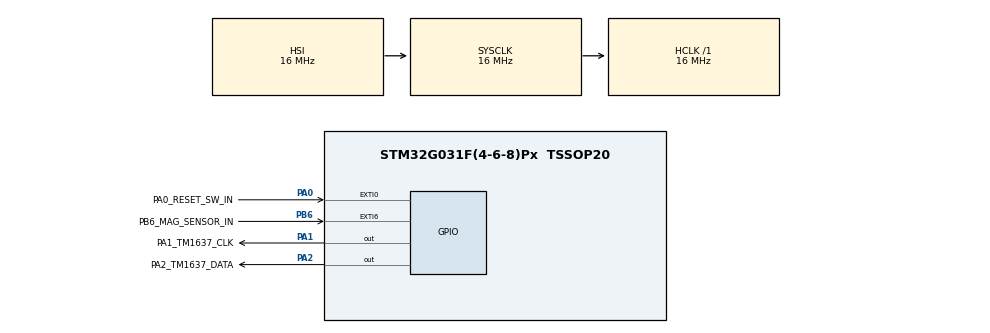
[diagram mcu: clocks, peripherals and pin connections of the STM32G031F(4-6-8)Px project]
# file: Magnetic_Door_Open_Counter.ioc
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Mcu.Family=STM32G0
Mcu.Name=STM32G031F(4-6-8)Px
Mcu.Package=TSSOP20
NVIC.EXTI0_1_IRQn=true\:0\:0\:false\:false\:true\:true\:true\:true
NVIC.EXTI4_15_IRQn=true\:0\:0\:false\:false\:true\:true\:true\:true
PA0.GPIO_Label=PA0_RESET_SW_IN
PA0.GPIO_ModeDefaultEXTI=GPIO_MODE_IT_RISING_FALLING
PA0.Signal=GPXTI0
PA1.GPIO_Label=PA1_TM1637_CLK
PA1.Signal=GPIO_Output
PA13.Mode=Serial_Wire
PA13.Signal=SYS_SWDIO
PA14-BOOT0.Mode=Serial_Wire
PA14-BOOT0.Signal=SYS_SWCLK
PA14-BOOT0__PA15.StandardMode=true
PA2.GPIO_Label=PA2_TM1637_DATA
PA2.Signal=GPIO_Output
PB0__PB1__PB2__PA8.StandardMode=true
PB3__PB4__PB5__PB6.StandardMode=true
PB6.GPIO_Label=PB6_MAG_SENSOR_IN
PB6.GPIO_ModeDefaultEXTI=GPIO_MODE_IT_RISING_FALLING
PB6.Signal=GPXTI6
PB7__PB8.StandardMode=true
PC14-OSC32_IN\ (PC14)__PB9.StandardMode=true
ProjectManager.HeapSize=0x200
ProjectManager.StackSize=0x400
ProjectManager.TargetToolchain=STM32CubeIDE
RCC.AHBFreq_Value=16000000
RCC.CortexFreq_Value=16000000
RCC.EXTERNAL_CLOCK_VALUE=12288000
RCC.HCLKFreq_Value=16000000
RCC.HSE_VALUE=8000000
RCC.HSI_VALUE=16000000
RCC.LSE_VALUE=32768
RCC.SYSCLKFreq_VALUE=16000000
RCC.VCOOutputFreq_Value=128000000
board=custom

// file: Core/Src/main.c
/* USER CODE BEGIN Header */
/**
  ******************************************************************************
  * @file           : main.c
  * @brief          : Main program body
  ******************************************************************************
  * @attention
  *
  * Copyright (c) 2024 STMicroelectronics.
  * All rights reserved.
  *
  * This software is licensed under terms that can be found in the LICENSE file
  * in the root directory of this software component.
  * If no LICENSE file comes with this software, it is provided AS-IS.
  *
  ******************************************************************************
  */
/* USER CODE END Header */
#include "main.h"
#define FLASH_USER_START_ADDR   (FLASH_BASE + (4 * FLASH_PAGE_SIZE))   /* Start @ of user Flash area */
#define FLASH_USER_END_ADDR     (FLASH_BASE + FLASH_SIZE - 1)   /* End @ of user Flash area */

#define DATA_64                 ((uint64_t)0x1234567812345678)
#define DATA_32                 ((uint32_t)0x12345678)
/* USER CODE BEGIN Includes */
#include "TM1637.h"
#include "flash_if.h"
/* USER CODE END Includes */

/* USER CODE BEGIN PV */
uint32_t GetPage(uint32_t Addr);
uint32_t Get_CounterVal_From_Flash();
void Set_CounterVal_To_Flash(uint64_t counterVal);
/* USER CODE END PV */

void SystemClock_Config(void);
static void MX_GPIO_Init(void);

/* USER CODE BEGIN PFP */
FLASH_EraseInitTypeDef EraseInitStruct = {0};
/* USER CODE END PFP */

/* USER CODE BEGIN 0 */
volatile uint32_t CounterVar = 0;
volatile uint32_t PrevCounterVar = 0;
extern uint32_t LastResetISRTick;
extern volatile uint8_t ButtonPressed;
volatile uint32_t lowPeriodCountTick = 0;
volatile uint8_t lowPeriodCount = 0;
/* USER CODE END 0 */

int main(void)
{

  /* MCU Configuration--------------------------------------------------------*/

  /* Reset of all peripherals, Initializes the Flash interface and the Systick. */
  HAL_Init();

  /* Configure the system clock */
  SystemClock_Config();

  /* USER CODE BEGIN SysInit */
  //HAL_Delay(3000);
  /* USER CODE END SysInit */

  /* Initialize all configured peripherals */
  MX_GPIO_Init();
  /* USER CODE BEGIN 2 */
  TM1637_Init();
  TM1637_SetBrightness(8);

  CounterVar = Get_CounterVal_From_Flash();
  CounterVar = CounterVar > 9999 ? 0 : CounterVar;
  TM1637_DisplayDecimal(CounterVar, 0);
  lowPeriodCountTick = HAL_GetTick();
  lowPeriodCount = 2;

  /* USER CODE END 2 */

  /* Infinite loop */
  while (1)
  {
	  if(PrevCounterVar != CounterVar)
	  {
		  TM1637_DisplayDecimal(CounterVar, 0);
		  Set_CounterVal_To_Flash(CounterVar);
		  PrevCounterVar = CounterVar;
	  }
	  if(HAL_GPIO_ReadPin(PB6_MAG_SENSOR_IN_GPIO_Port, PB6_MAG_SENSOR_IN_Pin) == 0 && ((HAL_GetTick() - lowPeriodCountTick) > 600) && lowPeriodCount == 0) {
		  lowPeriodCountTick = HAL_GetTick();
		  if(CounterVar > 9998) {
			  CounterVar = 0;
		  }
		  CounterVar++;
		  lowPeriodCount = 1;
	  }
	  if(HAL_GPIO_ReadPin(PB6_MAG_SENSOR_IN_GPIO_Port, PB6_MAG_SENSOR_IN_Pin) == 1) {
		  lowPeriodCountTick = HAL_GetTick();
		  lowPeriodCount = 0;
	  }
	  if(ButtonPressed && ((HAL_GetTick() - LastResetISRTick) > 1500))
	  {
		  ButtonPressed = 0;
		  CounterVar = 0;
	  }

	  HAL_Delay(1);
  }
}
void SystemClock_Config(void)
{
  RCC_OscInitTypeDef RCC_OscInitStruct = {0};
  RCC_ClkInitTypeDef RCC_ClkInitStruct = {0};

  /** Configure the main internal regulator output voltage
  */
  HAL_PWREx_ControlVoltageScaling(PWR_REGULATOR_VOLTAGE_SCALE1);

  /** Initializes the RCC Oscillators according to the specified parameters
  * in the RCC_OscInitTypeDef structure.
  */
  RCC_OscInitStruct.OscillatorType = RCC_OSCILLATORTYPE_HSI;
  RCC_OscInitStruct.HSIState = RCC_HSI_ON;
  RCC_OscInitStruct.HSIDiv = RCC_HSI_DIV1;
  RCC_OscInitStruct.HSICalibrationValue = RCC_HSICALIBRATION_DEFAULT;
  RCC_OscInitStruct.PLL.PLLState = RCC_PLL_NONE;
  if (HAL_RCC_OscConfig(&RCC_OscInitStruct) != HAL_OK)
  {
    Error_Handler();
  }

  /** Initializes the CPU, AHB and APB buses clocks
  */
  RCC_ClkInitStruct.ClockType = RCC_CLOCKTYPE_HCLK|RCC_CLOCKTYPE_SYSCLK
                              |RCC_CLOCKTYPE_PCLK1;
  RCC_ClkInitStruct.SYSCLKSource = RCC_SYSCLKSOURCE_HSI;
  RCC_ClkInitStruct.AHBCLKDivider = RCC_SYSCLK_DIV1;
  RCC_ClkInitStruct.APB1CLKDivider = RCC_HCLK_DIV1;

  if (HAL_RCC_ClockConfig(&RCC_ClkInitStruct, FLASH_LATENCY_0) != HAL_OK)
  {
    Error_Handler();
  }
}

static void MX_GPIO_Init(void)
{
  GPIO_InitTypeDef GPIO_InitStruct = {0};

  /* GPIO Ports Clock Enable */
  __HAL_RCC_GPIOA_CLK_ENABLE();
  __HAL_RCC_GPIOB_CLK_ENABLE();

  /*Configure GPIO pin Output Level */
  HAL_GPIO_WritePin(GPIOA, PA1_TM1637_CLK_Pin|PA2_TM1637_DATA_Pin, GPIO_PIN_RESET);

  /*Configure GPIO pin : PA0_RESET_SW_IN_Pin */
  GPIO_InitStruct.Pin = PA0_RESET_SW_IN_Pin;
  GPIO_InitStruct.Mode = GPIO_MODE_IT_RISING;
  GPIO_InitStruct.Pull = GPIO_PULLDOWN;

  HAL_GPIO_Init(PA0_RESET_SW_IN_GPIO_Port, &GPIO_InitStruct);

  /*Configure GPIO pins : PA1_TM1637_CLK_Pin PA2_TM1637_DATA_Pin */
  GPIO_InitStruct.Pin = PA1_TM1637_CLK_Pin|PA2_TM1637_DATA_Pin;
  GPIO_InitStruct.Mode = GPIO_MODE_OUTPUT_PP;
  GPIO_InitStruct.Pull = GPIO_NOPULL;
  GPIO_InitStruct.Speed = GPIO_SPEED_FREQ_LOW;
  HAL_GPIO_Init(GPIOA, &GPIO_InitStruct);

  /*Configure GPIO pin : PB6_MAG_SENSOR_IN_Pin */
  GPIO_InitStruct.Pin = PB6_MAG_SENSOR_IN_Pin;
  GPIO_InitStruct.Mode = GPIO_MODE_IT_FALLING;
  GPIO_InitStruct.Pull = GPIO_PULLDOWN;

  HAL_GPIO_Init(PB6_MAG_SENSOR_IN_GPIO_Port, &GPIO_InitStruct);

  /* EXTI interrupt init*/
  HAL_NVIC_SetPriority(EXTI0_1_IRQn, 0, 0);
  HAL_NVIC_EnableIRQ(EXTI0_1_IRQn);

  HAL_NVIC_SetPriority(EXTI4_15_IRQn, 0, 0);
  HAL_NVIC_EnableIRQ(EXTI4_15_IRQn);

}

/* USER CODE BEGIN 4 */
uint32_t GetPage(uint32_t Addr)
{
  return (Addr - FLASH_BASE) / FLASH_PAGE_SIZE;;
}

uint32_t Get_CounterVal_From_Flash()
{
	return *(uint32_t *)FLASH_USER_START_ADDR;
}

void Set_CounterVal_To_Flash(uint64_t counterVal)
{
	HAL_FLASH_Unlock();
	uint32_t Address = FLASH_USER_START_ADDR;
	uint32_t FirstPage = GetPage(FLASH_USER_START_ADDR);
	uint32_t PageError = 0;

	/* Get the number of pages to erase from 1st page */
	uint32_t NbOfPages = GetPage(FLASH_USER_END_ADDR) - FirstPage + 1;

	/* Fill EraseInit structure*/
	EraseInitStruct.TypeErase   = FLASH_TYPEERASE_PAGES;
	EraseInitStruct.Page        = FirstPage;
	EraseInitStruct.NbPages     = NbOfPages;

	HAL_FLASHEx_Erase(&EraseInitStruct, &PageError);
	HAL_FLASH_Program(FLASH_TYPEPROGRAM_DOUBLEWORD, Address, counterVal);
	HAL_FLASH_Lock();
}

void HAL_PWREx_PVD_Falling_Callback(void)
{
	Set_CounterVal_To_Flash(CounterVar);
  /* NOTE : This function should not be modified; when the callback is needed,
            the HAL_PWR_PVD_Falling_Callback can be implemented in the user file
  */
}
/* USER CODE END 4 */

void Error_Handler(void)
{
  __disable_irq();
  while (1)
  {
  }
}
